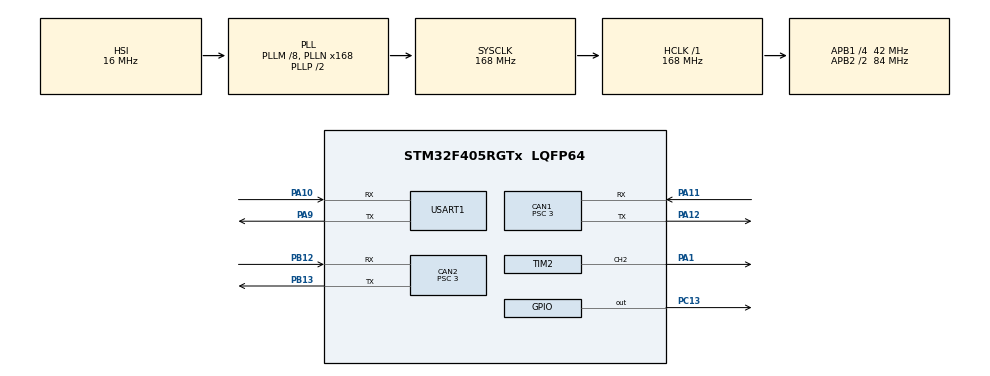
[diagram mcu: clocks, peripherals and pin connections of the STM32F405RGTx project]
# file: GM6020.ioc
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CAN1.BS1=CAN_BS1_9TQ
CAN1.BS2=CAN_BS2_4TQ
CAN1.CalculateBaudRate=1000000
CAN1.CalculateTimeBit=1000
CAN1.CalculateTimeQuantum=71.42857142857143
CAN1.Prescaler=3
CAN2.BS1=CAN_BS1_9TQ
CAN2.BS2=CAN_BS2_4TQ
CAN2.CalculateBaudRate=1000000
CAN2.CalculateTimeBit=1000
CAN2.CalculateTimeQuantum=71.42857142857143
CAN2.Prescaler=3
Dma.Request0=USART1_TX
Dma.Request1=USART1_RX
Dma.USART1_RX.1.Direction=DMA_PERIPH_TO_MEMORY
Dma.USART1_RX.1.FIFOMode=DMA_FIFOMODE_DISABLE
Dma.USART1_RX.1.Instance=DMA2_Stream2
Dma.USART1_RX.1.MemDataAlignment=DMA_MDATAALIGN_BYTE
Dma.USART1_RX.1.MemInc=DMA_MINC_ENABLE
Dma.USART1_RX.1.Mode=DMA_NORMAL
Dma.USART1_RX.1.PeriphDataAlignment=DMA_PDATAALIGN_BYTE
Dma.USART1_RX.1.PeriphInc=DMA_PINC_DISABLE
Dma.USART1_RX.1.Priority=DMA_PRIORITY_LOW
Dma.USART1_TX.0.Direction=DMA_MEMORY_TO_PERIPH
Dma.USART1_TX.0.FIFOMode=DMA_FIFOMODE_DISABLE
Dma.USART1_TX.0.Instance=DMA2_Stream7
Dma.USART1_TX.0.MemDataAlignment=DMA_MDATAALIGN_BYTE
Dma.USART1_TX.0.MemInc=DMA_MINC_ENABLE
Dma.USART1_TX.0.Mode=DMA_NORMAL
Dma.USART1_TX.0.PeriphDataAlignment=DMA_PDATAALIGN_BYTE
Dma.USART1_TX.0.PeriphInc=DMA_PINC_DISABLE
Dma.USART1_TX.0.Priority=DMA_PRIORITY_LOW
FREERTOS.Tasks01=canTask,24,128,MotorTask,Default,NULL,Dynamic,NULL,NULL;usartTask,24,128,UsartTask,Default,NULL,Dynamic,NULL,NULL;pwmTask,8,128,PwmTask,Default,NULL,Dynamic,NULL,NULL
Mcu.Family=STM32F4
Mcu.Name=STM32F405RGTx
Mcu.Package=LQFP64
NVIC.CAN1_RX0_IRQn=true\:5\:0\:false\:false\:true\:true\:true\:true\:true
NVIC.CAN1_RX1_IRQn=true\:5\:0\:false\:false\:true\:true\:true\:true\:true
NVIC.DMA2_Stream2_IRQn=true\:5\:0\:false\:false\:true\:true\:false\:true\:true
NVIC.DMA2_Stream7_IRQn=true\:5\:0\:false\:false\:true\:true\:false\:true\:true
NVIC.PriorityGroup=NVIC_PRIORITYGROUP_4
NVIC.TIM7_IRQn=true\:15\:0\:false\:false\:true\:false\:false\:true\:true
NVIC.TimeBase=TIM7_IRQn
NVIC.TimeBaseIP=TIM7
PA1.Signal=S_TIM2_CH2
PA10.Mode=Asynchronous
PA10.Signal=USART1_RX
PA11.Mode=CAN_Activate
PA11.Signal=CAN1_RX
PA12.Mode=CAN_Activate
PA12.Signal=CAN1_TX
PA13.Mode=Serial_Wire
PA13.Signal=SYS_JTMS-SWDIO
PA14.Mode=Serial_Wire
PA14.Signal=SYS_JTCK-SWCLK
PA9.Mode=Asynchronous
PA9.Signal=USART1_TX
PB12.Mode=CAN_Activate
PB12.Signal=CAN2_RX
PB13.Mode=CAN_Activate
PB13.Signal=CAN2_TX
PC13-ANTI_TAMP.GPIO_PuPd=GPIO_PULLUP
PC13-ANTI_TAMP.PinState=GPIO_PIN_SET
PC13-ANTI_TAMP.Signal=GPIO_Output
PH0-OSC_IN.Mode=HSE-External-Oscillator
PH0-OSC_IN.Signal=RCC_OSC_IN
PH1-OSC_OUT.Mode=HSE-External-Oscillator
PH1-OSC_OUT.Signal=RCC_OSC_OUT
ProjectManager.HeapSize=0x200
ProjectManager.StackSize=0x400
ProjectManager.TargetToolchain=MDK-ARM V5.32
RCC.48MHZClocksFreq_Value=84000000
RCC.AHBFreq_Value=168000000
RCC.APB1CLKDivider=RCC_HCLK_DIV4
RCC.APB1Freq_Value=42000000
RCC.APB1TimFreq_Value=84000000
RCC.APB2CLKDivider=RCC_HCLK_DIV2
RCC.APB2Freq_Value=84000000
RCC.APB2TimFreq_Value=168000000
RCC.CortexFreq_Value=168000000
RCC.HCLKFreq_Value=168000000
RCC.HSE_VALUE=25000000
RCC.HSI_VALUE=16000000
RCC.LSE_VALUE=32768
RCC.PLLM=8
RCC.PLLN=168
RCC.SYSCLKFreq_VALUE=168000000
RCC.SYSCLKSource=RCC_SYSCLKSOURCE_PLLCLK
RCC.VCOOutputFreq_Value=336000000
SH.S_TIM2_CH2.0=TIM2_CH2,PWM Generation2 CH2
TIM2.Channel-PWM\ Generation2\ CH2=TIM_CHANNEL_2
TIM2.Period=168-1
TIM2.Prescaler=25-1
USART1.VirtualMode=VM_ASYNC
VP_FREERTOS_VS_CMSIS_V2.Mode=CMSIS_V2
VP_SYS_VS_tim7.Mode=TIM7
board=custom

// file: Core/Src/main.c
/* USER CODE BEGIN Header */
/**
 ******************************************************************************
 * @file           : main.c
 * @brief          : Main program body
 ******************************************************************************
 * @attention
 *
 * Copyright (c) 2024 STMicroelectronics.
 * All rights reserved.
 *
 * This software is licensed under terms that can be found in the LICENSE file
 * in the root directory of this software component.
 * If no LICENSE file comes with this software, it is provided AS-IS.
 *
 ******************************************************************************
 */
/* USER CODE END Header */
#include "main.h"
#include "cmsis_os.h"
#include "can.h"
#include "dma.h"
#include "tim.h"
#include "usart.h"
#include "gpio.h"

void SystemClock_Config(void);
void MX_FREERTOS_Init(void);

/* USER CODE BEGIN 0 */
/**
 * @brief CAN报文回调函数
 *
 * @param Rx_Buffer CAN接收的信息结构体
 */
void CAN_Motor_Call_Back(CAN_RxBuffer *Rx_Buffer)
{
  uint8_t *Rx_Data = Rx_Buffer->data;
  switch (Rx_Buffer->header.StdId)
  {
  case (0x207):
  {
	int16_t Delta_Encoder;
    motor.Pre_Encoder = motor.Rx_Encoder;
    // Tx_Data[0] = (Rx_Data[0] << 8) | Rx_Data[1];
    // Tx_Data[1] = (Rx_Data[2] << 8) | Rx_Data[3];
    // Tx_Data[2] = (Rx_Data[4] << 8) | Rx_Data[5];
    // Tx_Data[3] = Rx_Data[6];
    motor.Rx_Encoder = (Rx_Data[0] << 8) | Rx_Data[1];
    motor.Rx_RPM = (Rx_Data[2] << 8) | Rx_Data[3];
    motor.Rx_Torque = (Rx_Data[4] << 8) | Rx_Data[5];
    motor.Rx_Temp = Rx_Data[6];
    Delta_Encoder = motor.Rx_Encoder - motor.Pre_Encoder;
    if (Delta_Encoder < -4096)
    {
        // 正方向转过了�?�?
        motor.Total_Round++;
    }
    else if (Delta_Encoder > 4096)
    {
        // 反方向转过了�?�?
        motor.Total_Round--;
    }
    motor.Total_Encoder = motor.Total_Round * 8192.f + motor.Rx_Encoder;
  }
  }
}
/* USER CODE END 0 */

int main(void)
{

  /* MCU Configuration--------------------------------------------------------*/

  /* Reset of all peripherals, Initializes the Flash interface and the Systick. */
  HAL_Init();

  /* Configure the system clock */
  SystemClock_Config();

  /* Initialize all configured peripherals */
  MX_GPIO_Init();
  MX_DMA_Init();
  MX_CAN1_Init();
  MX_CAN2_Init();
  MX_USART1_UART_Init();
  MX_TIM2_Init();
  /* USER CODE BEGIN 2 */
  CAN_Init(&hcan1, CAN_Motor_Call_Back);
  Uart_Init(&huart1, NULL, 0, NULL);
  CAN_Filter_Mask_Config(&hcan1, CanFilter(13) | CanFifo_1 | Can_STDID | Can_DataType, 0x205, 0x7FF);
  /* USER CODE END 2 */

  /* Init scheduler */
  osKernelInitialize();  /* Call init function for freertos objects (in freertos.c) */
  MX_FREERTOS_Init();

  /* Start scheduler */
  osKernelStart();
  /* We should never get here as control is now taken by the scheduler */
  /* Infinite loop */
  while (1)
  {

  }
}

void SystemClock_Config(void)
{
  RCC_OscInitTypeDef RCC_OscInitStruct = {0};
  RCC_ClkInitTypeDef RCC_ClkInitStruct = {0};

  /** Configure the main internal regulator output voltage
  */
  __HAL_RCC_PWR_CLK_ENABLE();
  __HAL_PWR_VOLTAGESCALING_CONFIG(PWR_REGULATOR_VOLTAGE_SCALE1);

  /** Initializes the RCC Oscillators according to the specified parameters
  * in the RCC_OscInitTypeDef structure.
  */
  RCC_OscInitStruct.OscillatorType = RCC_OSCILLATORTYPE_HSI;
  RCC_OscInitStruct.HSIState = RCC_HSI_ON;
  RCC_OscInitStruct.HSICalibrationValue = RCC_HSICALIBRATION_DEFAULT;
  RCC_OscInitStruct.PLL.PLLState = RCC_PLL_ON;
  RCC_OscInitStruct.PLL.PLLSource = RCC_PLLSOURCE_HSI;
  RCC_OscInitStruct.PLL.PLLM = 8;
  RCC_OscInitStruct.PLL.PLLN = 168;
  RCC_OscInitStruct.PLL.PLLP = RCC_PLLP_DIV2;
  RCC_OscInitStruct.PLL.PLLQ = 4;
  if (HAL_RCC_OscConfig(&RCC_OscInitStruct) != HAL_OK)
  {
    Error_Handler();
  }

  /** Initializes the CPU, AHB and APB buses clocks
  */
  RCC_ClkInitStruct.ClockType = RCC_CLOCKTYPE_HCLK|RCC_CLOCKTYPE_SYSCLK
                              |RCC_CLOCKTYPE_PCLK1|RCC_CLOCKTYPE_PCLK2;
  RCC_ClkInitStruct.SYSCLKSource = RCC_SYSCLKSOURCE_PLLCLK;
  RCC_ClkInitStruct.AHBCLKDivider = RCC_SYSCLK_DIV1;
  RCC_ClkInitStruct.APB1CLKDivider = RCC_HCLK_DIV4;
  RCC_ClkInitStruct.APB2CLKDivider = RCC_HCLK_DIV2;

  if (HAL_RCC_ClockConfig(&RCC_ClkInitStruct, FLASH_LATENCY_5) != HAL_OK)
  {
    Error_Handler();
  }
}

void HAL_TIM_PeriodElapsedCallback(TIM_HandleTypeDef *htim)
{
  if (htim->Instance == TIM7) {
    HAL_IncTick();
  }
}

void Error_Handler(void)
{
  __disable_irq();
  while (1)
  {
  }
}

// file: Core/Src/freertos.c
/* USER CODE BEGIN Header */
/**
 ******************************************************************************
 * File Name          : freertos.c
 * Description        : Code for freertos applications
 ******************************************************************************
 * @attention
 *
 * Copyright (c) 2024 STMicroelectronics.
 * All rights reserved.
 *
 * This software is licensed under terms that can be found in the LICENSE file
 * in the root directory of this software component.
 * If no LICENSE file comes with this software, it is provided AS-IS.
 *
 ******************************************************************************
 */
/* USER CODE END Header */

#include "FreeRTOS.h"
#include "task.h"
#include "main.h"
#include "cmsis_os.h"

/* USER CODE BEGIN Includes */
#include "usart.h"
#include "tim.h"
/* USER CODE END Includes */

/* USER CODE BEGIN Variables */

float Target_RPM = 200;
float Now_RPM;
float Target_Angle = 180;
float Now_Angle;
/* USER CODE END Variables */
/* Definitions for canTask */
osThreadId_t canTaskHandle;
const osThreadAttr_t canTask_attributes = {
    .name = "canTask",
    .stack_size = 128 * 4,
    .priority = (osPriority_t)osPriorityNormal,
};
/* Definitions for usartTask */
osThreadId_t usartTaskHandle;
const osThreadAttr_t usartTask_attributes = {
    .name = "usartTask",
    .stack_size = 128 * 4,
    .priority = (osPriority_t)osPriorityNormal,
};
/* Definitions for pwmTask */
osThreadId_t pwmTaskHandle;
const osThreadAttr_t pwmTask_attributes = {
    .name = "pwmTask",
    .stack_size = 128 * 4,
    .priority = (osPriority_t)osPriorityLow,
};

void MotorTask(void *argument);
void UsartTask(void *argument);
void PwmTask(void *argument);

void MX_FREERTOS_Init(void); /* (MISRA C 2004 rule 8.1) */

void MX_FREERTOS_Init(void)
{

  /* Create the thread(s) */
  /* creation of canTask */
  canTaskHandle = osThreadNew(MotorTask, NULL, &canTask_attributes);

  /* creation of usartTask */
  usartTaskHandle = osThreadNew(UsartTask, NULL, &usartTask_attributes);

  /* creation of pwmTask */
  pwmTaskHandle = osThreadNew(PwmTask, NULL, &pwmTask_attributes);

}

void MotorTask(void *argument)
{
  /* USER CODE BEGIN MotorTask */
  int16_t Torque = 0;
  Torque = 5000;
  CAN1_0x1ff_Tx_Data[0] = Torque >> 8;
  CAN1_0x1ff_Tx_Data[1] = Torque;
  /* Infinite loop */
  for (;;)
  {

    CANx_SendData(&hcan1, 0x1ff, CAN1_0x1ff_Tx_Data, 8);
    osDelay(5);
  }
  /* USER CODE END MotorTask */
}

void UsartTask(void *argument)
{
  /* USER CODE BEGIN UsartTask */
  /* Infinite loop */
  for (;;)
  {
    char str[5] = "YKJ\r\n";
    HAL_UART_Transmit(&huart1, (uint8_t *)str, strlen(str), HAL_MAX_DELAY);
    osDelay(1000);
  }
  /* USER CODE END UsartTask */
}

void PwmTask(void *argument)
{
  /* USER CODE BEGIN PwmTask */
  HAL_TIM_PWM_Start(&htim2, TIM_CHANNEL_2);
  /* Infinite loop */
  for (;;)
  {
    for (int i = 0; i < 100; i++)
    {
      TIM2->CCR2 = i;
      osDelay(5);
    }
    for (int i = 99; i >= 0; i--)
    {
      TIM2->CCR2 = i;
      osDelay(5);
    }
  }
  /* USER CODE END PwmTask */
}
